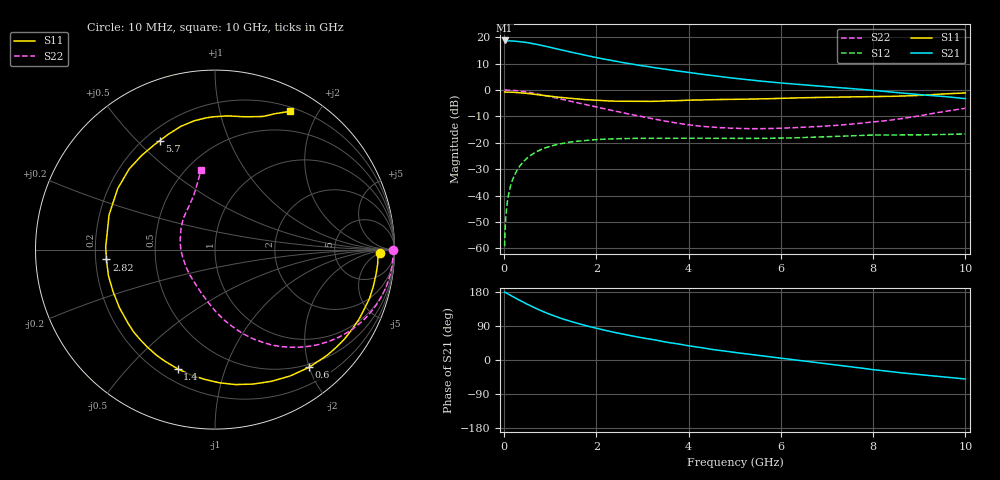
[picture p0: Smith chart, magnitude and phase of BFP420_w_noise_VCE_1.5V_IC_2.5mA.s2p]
! Infineon Technologies  Discrete & RF Semiconductors
! BFP420
! VCE =  1.5 V,  IC =  2.5 mA
! Common Emitter S-Parameters:  Jan 2016
# GHz  S  MA  R  50
!  f  S11  S21  S12  S22
! GHz  MAG  ANG  MAG  ANG  MAG  ANG  MAG  ANG
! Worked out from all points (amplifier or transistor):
!   233 points, 10 MHz to 10 GHz, reference 50 ohm
!   highest |S21| = 18.7 dB at 10 MHz (marker M1)
!   |S21| within 3 dB of that: start of sweep to 1.096 GHz
!   unconditionally stable (mu >= 1): 3.662 GHz to end of sweep
!   at 200 MHz: K = 0.03, MSG = 25.9 dB, |S12| = -33.3 dB
!   at 1.74 GHz: K = 0.42, MSG = 16.2 dB, |S12| = -19.2 dB
!   at 10 GHz: K = 1.18, MAG = 4.1 dB, |S12| = -16.7 dB
!   lowest NFmin = 0.55 dB at 900 MHz
!   S11 on the Smith chart (normalised r, x): 10 MHz: 22, -5; 600 MHz: 0.45, -2.00; 1.4 GHz: 0.27, -0.70; 2.82 GHz: 0.24, -0.04; 5.7 GHz: 0.26, +0.59; 10 GHz: 0.25, +1.65
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0.01  0.9172 -1.2  8.645 179.3  0.0011 84.4  0.9913 0.0
0.02  0.9089 -1.8  8.417 179.0  0.0022 86.2  0.993 -1.0
0.05  0.9106 -4.5  8.46 176.6  0.0054 86.7  0.9931 -2.6
0.15  0.9056 -13.1  8.479 169.9  0.0164 82.9  0.9864 -8.0
0.3  0.8906 -26.2  8.294 159.9  0.0322 75.4  0.9632 -15.9
0.4  0.8768 -34.7  8.105 153.5  0.0421 70.4  0.9399 -21.0
0.6  0.8398 -51.3  7.6 141.2  0.0598 61.3  0.8818 -30.6
0.7  0.819 -59.3  7.317 135.5  0.0675 57.1  0.8482 -34.9
0.9  0.7787 -74.2  6.703 125.0  0.0804 49.5  0.7794 -42.9
1.2  0.7247 -94.8  5.831 111.3  0.0949 39.9  0.6792 -53.2
1.4  0.6963 -107.4  5.316 103.4  0.1019 34.5  0.6192 -59.2
1.68  0.6636 -123.2  4.697 93.6  0.109 28.1  0.5449 -66.4
1.92  0.6428 -135.5  4.236 86.0  0.1135 23.4  0.4899 -72.0
2.2  0.6231 -148.7  3.793 78.0  0.1172 18.7  0.434 -77.9
2.82  0.6074 -174.8  3.032 62.5  0.1208 10.2  0.3334 -91.1
3.4  0.6145 165.2  2.532 49.8  0.1214 4.4  0.2656 -104.2
4.5  0.6563 136.7  1.876 28.0  0.1213 -3.1  0.1981 -135.9
5.1  0.6658 126.4  1.622 18.4  0.121 -5.5  0.1863 -152.3
5.7  0.6809 116.8  1.432 9.4  0.1213 -7.2  0.1852 -169.2
6.8  0.7205 101.5  1.189 -7.1  0.1282 -10.0  0.2023 163.0
8.4  0.7558 78.5  0.91 -31.0  0.1404 -19.3  0.2695 125.1
10  0.8769 61.5  0.684 -50.2  0.1465 -25.7  0.4493 99.9
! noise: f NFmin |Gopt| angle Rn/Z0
0.9  0.55  0.41  33  0.2
1.8  1.02  0.24  78  0.16
2.4  1.11  0.26  103  0.15
3  1.28  0.27  140  0.11
4  1.5  0.34  -163  0.1
5  1.85  0.4  -130  0.26
6  2.56  0.5  -109  0.35
